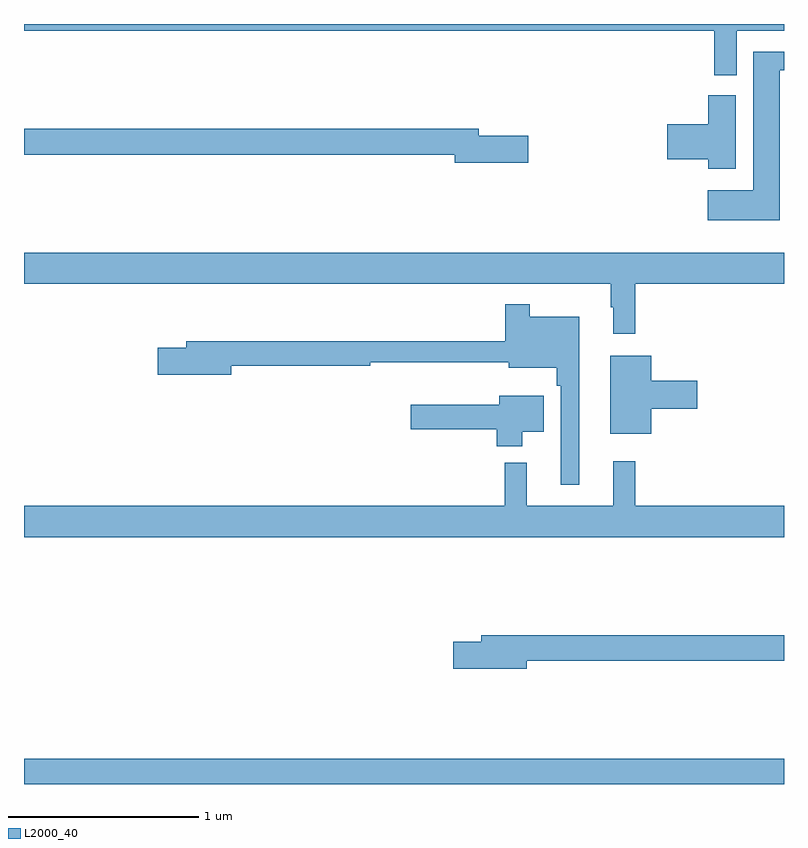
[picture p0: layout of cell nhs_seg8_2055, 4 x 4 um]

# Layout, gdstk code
import gdstk
lib = gdstk.Library(unit=1e-6, precision=1e-09)
def R(c, l, rs):  # rectangles x0, y0, x1, y1
    for r in rs: c.add(gdstk.rectangle(r[:2], r[2:], *l))
def P(c, l, *ps):  # polygons
    for p in ps: c.add(gdstk.Polygon(p, *l))
L2000_40 = (2000, 40)

nhs_seg8_2055 = lib.new_cell('nhs_seg8_2055')
R(nhs_seg8_2055, L2000_40, [(241,1081.9,245,1082.032)])
P(nhs_seg8_2055, L2000_40, [(244.75,1085.864),(245,1085.864),(245,1085.9),(241,1085.9),(241,1085.864),(244.632,1085.864),(244.632,1085.631),(244.75,1085.631)],
  [(244.978,1085.657),(245,1085.657),(245,1085.754),(244.838,1085.754),(244.838,1085.026),(244.598,1085.026),(244.598,1084.868),(244.978,1084.868)],
  [(244.747,1085.524),(244.601,1085.524),(244.601,1085.372),(244.386,1085.372),(244.386,1085.189),(244.601,1085.189),(244.601,1085.139),(244.747,1085.139)],
  [(243.655,1085.312),(243.394,1085.312),(243.394,1085.348),(241,1085.348),(241,1085.212),(243.266,1085.212),(243.266,1085.17),(243.655,1085.17)],
  [(244.217,1084.532),(245,1084.532),(245,1084.696),(241,1084.696),(241,1084.532),(244.089,1084.532),(244.089,1084.409),(244.1,1084.409),(244.1,1084.269),(244.217,1084.269)],
  [(243.922,1084.36),(243.661,1084.36),(243.661,1084.426),(243.532,1084.426),(243.532,1084.231),(241.853,1084.231),(241.853,1084.197),(241.704,1084.197),(241.704,1084.055),(242.092,1084.055),(242.092,1084.102),(242.822,1084.102),(242.822,1084.12),(243.551,1084.12),(243.551,1084.091),(243.805,1084.091),(243.805,1083.995),(243.825,1083.995),(243.825,1083.474),(243.922,1083.474)],
  [(244.3,1083.875),(244.543,1083.875),(244.543,1084.022),(244.3,1084.022),(244.3,1084.153),(244.085,1084.153),(244.085,1083.743),(244.3,1083.743)],
  [(243.622,1083.755),(243.736,1083.755),(243.736,1083.943),(243.5,1083.943),(243.5,1083.895),(243.036,1083.895),(243.036,1083.766),(243.488,1083.766),(243.488,1083.677),(243.622,1083.677)],
  [(245,1083.364),(244.217,1083.364),(244.217,1083.598),(244.1,1083.598),(244.1,1083.364),(243.647,1083.364),(243.647,1083.592),(243.529,1083.592),(243.529,1083.364),(241,1083.364),(241,1083.2),(245,1083.2)],
  [(243.646,1082.548),(245,1082.548),(245,1082.684),(243.407,1082.684),(243.407,1082.648),(243.258,1082.648),(243.258,1082.506),(243.646,1082.506)])

lib.write_gds('nhs_seg8_2055.gds')
